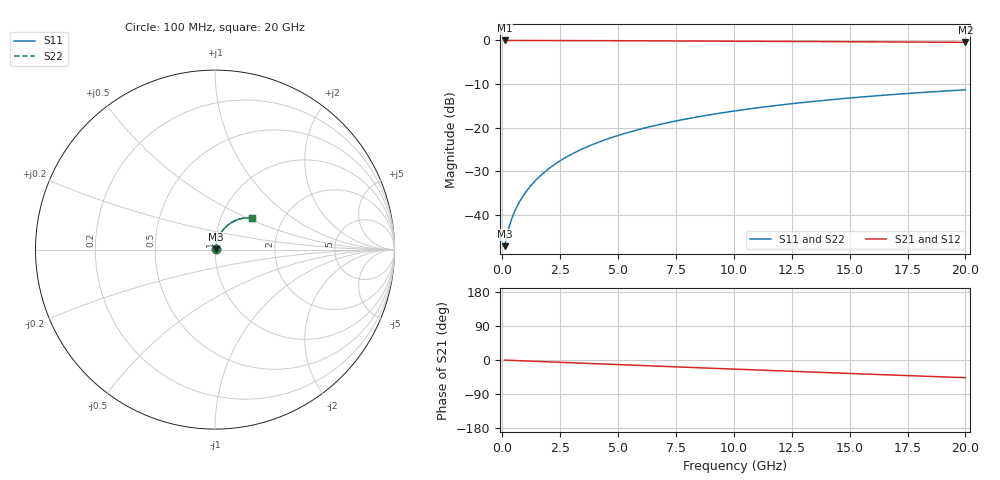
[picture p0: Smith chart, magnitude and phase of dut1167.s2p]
! Touchstone file exported from HFSS 2026.1.0
!  File:  C:/ffzhzh/LocalFiles/Ansys_Project_Files/temp_train_TMRDL_1167_1783162405_18472.aedt
!  Generated:  06:54:40 PM Jul  4, 2026
!  Design:  TMRDL
!  Project:  temp_train_TMRDL_1167_1783162405_18472
! Variables:
!  h_bsmrdl = 2um
!  h_ox = 20um
!  h_rdl = 5um
!  h_sub = 80um
!  h_tmrdl = 2.84um
!  h_tsv = 80um
!  h_via = 3um
!  l_bsmrdl = 300um
!  l_sub = 1165.19um
!  l_tmrdl = 765.19um
!  m_sub = 200um
!  pitch = 40.2um
!  r_tsv = 6um
!  s_tmrdl = 10um
!  w_bsmrdl = 18um
!  w_sub = 500um
!  w_tmrdl = 26.67um
!  x_tsv_center1 = 778.525um
!  x_tsv_center2 = 1096.525um
!  x_tsv_center3 = 1888.385um
!  x_tsv_center4 = 2206.385um
!  x_tsv_center5 = 2998.245um
!  x_tsv_center6 = 3316.245um
# GHz S MA R 50.000000
! Terminal data exported
! Port[1] = TM_RDL1_1_T1
! Port[2] = TM_RDL1_1_T2
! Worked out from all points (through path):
!   200 points, 100 MHz to 20 GHz, reference 50 ohm
!   highest |S21| = -0.03 dB at 100 MHz (marker M1); lowest = -0.5 dB at 20 GHz (marker M2)
!   group delay of S21, straight-line fit = 6.48 ps
!   lowest |S11| = -47.1 dB at 100 MHz (marker M3), VSWR 1.01, Z = 50.4 + j0.209 ohm
!   |S11| at or under -10 dB: start of sweep to end of sweep
!   |S22| runs from -47.1 to -11.3 dB; largest |S21 - S12| = 1.7e-15
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0.1  0.004405 28.1  0.9961 -0.3  0.9961 -0.3  0.004405 28.1
! Gamma 0 0 0 0
! Port Impedance 50 0 50 0
0.2  0.005799 44.1  0.9959 -0.5  0.9959 -0.5  0.005799 44.1
0.3  0.007378 52.3  0.9955 -0.8  0.9955 -0.8  0.007378 52.3
0.4  0.00895 57.2  0.9953 -1.0  0.9953 -1.0  0.008949 57.2
0.5  0.01049 60.6  0.995 -1.3  0.995 -1.3  0.01049 60.6
0.6  0.012 63.2  0.9948 -1.5  0.9948 -1.5  0.012 63.2
0.8  0.01503 67.1  0.9945 -2.0  0.9945 -2.0  0.01503 67.1
1  0.01809 69.7  0.9943 -2.5  0.9943 -2.5  0.01809 69.7
1.2  0.02119 71.6  0.9942 -3.0  0.9942 -3.0  0.02119 71.6
1.7  0.02906 74.2  0.9938 -4.2  0.9938 -4.2  0.02906 74.2
2.2  0.03703 75.2  0.9933 -5.4  0.9933 -5.4  0.03703 75.2
2.8  0.04663 75.4  0.9927 -6.9  0.9927 -6.9  0.04663 75.4
3.5  0.05781 74.9  0.9918 -8.6  0.9918 -8.6  0.05781 74.9
4.2  0.0689 74.0  0.9907 -10.3  0.9907 -10.3  0.06891 74.0
5  0.08145 72.7  0.9894 -12.2  0.9894 -12.2  0.08146 72.7
5.9  0.09534 70.9  0.9876 -14.3  0.9876 -14.3  0.09535 71.0
6.8  0.109 69.1  0.9857 -16.5  0.9857 -16.5  0.109 69.1
8.3  0.1311 65.9  0.9821 -20.1  0.9821 -20.1  0.1311 65.9
10.1  0.1564 62.0  0.9773 -24.3  0.9773 -24.3  0.1564 62.0
13.4  0.1994 54.7  0.9679 -31.9  0.9679 -31.9  0.1995 54.7
16.7  0.2378 47.5  0.958 -39.4  0.958 -39.4  0.2379 47.5
20  0.2712 40.4  0.9483 -46.7  0.9483 -46.7  0.2713 40.5
